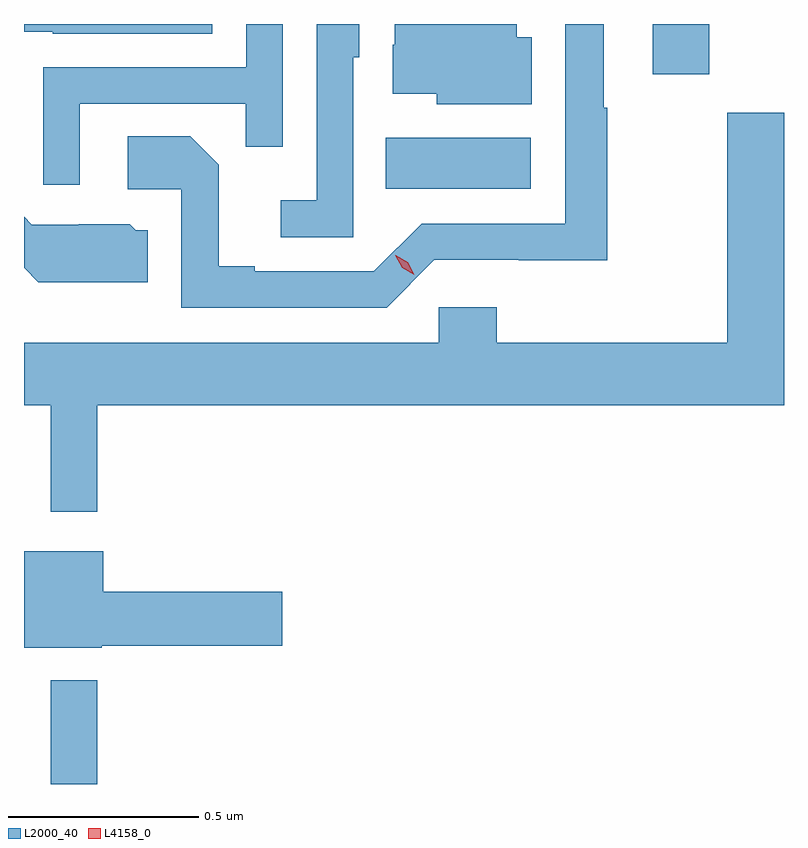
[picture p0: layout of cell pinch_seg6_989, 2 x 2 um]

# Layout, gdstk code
import gdstk
lib = gdstk.Library(unit=1e-6, precision=1e-09)
def R(c, l, rs):  # rectangles x0, y0, x1, y1
    for r in rs: c.add(gdstk.rectangle(r[:2], r[2:], *l))
def P(c, l, *ps):  # polygons
    for p in ps: c.add(gdstk.Polygon(p, *l))
L2000_40 = (2000, 40)
L4158_0 = (4158, 0)

pinch_seg6_989 = lib.new_cell('pinch_seg6_989')
R(pinch_seg6_989, L2000_40, [(360.707,938.347,360.829,938.62), (361.588,939.914,361.969,940.048), (362.291,940.215,362.439,940.347)])
P(pinch_seg6_989, L2000_40, [(361.503,940.26),(361.518,940.26),(361.518,940.347),(361.407,940.347),(361.407,939.883),(361.311,939.883),(361.311,939.786),(361.503,939.786)],
  [(361.716,939.726),(361.938,939.726),(361.938,939.725),(362.171,939.725),(362.171,940.127),(362.161,940.127),(362.161,940.347),(362.06,940.347),(362.06,939.822),(361.683,939.822),(361.557,939.696),(361.243,939.696),(361.243,939.709),(361.149,939.709),(361.149,939.976),(361.073,940.052),(360.909,940.052),(360.909,939.912),(361.05,939.912),(361.05,939.6),(361.59,939.6)],
  [(361.132,940.347),(360.636,940.347),(360.636,940.326),(360.712,940.326),(360.712,940.322),(361.132,940.322)],
  [(360.783,940.137),(361.219,940.137),(361.219,940.024),(361.317,940.024),(361.317,940.347),(361.221,940.347),(361.221,940.233),(360.687,940.233),(360.687,939.924),(360.783,939.924)],
  [(361.972,940.312),(361.933,940.312),(361.933,940.347),(361.611,940.347),(361.611,940.292),(361.607,940.292),(361.607,940.163),(361.722,940.163),(361.722,940.136),(361.972,940.136)],
  [(360.829,939.344),(362.636,939.344),(362.636,940.114),(362.486,940.114),(362.486,939.508),(361.88,939.508),(361.88,939.601),(361.728,939.601),(361.728,939.508),(360.636,939.508),(360.636,939.344),(360.707,939.344),(360.707,939.063),(360.829,939.063)],
  [(360.961,939.804),(360.93,939.804),(360.914,939.82),(360.78,939.82),(360.78,939.819),(360.657,939.819),(360.636,939.84),(360.636,939.705),(360.673,939.668),(360.961,939.668)],
  [(360.84,938.711),(361.315,938.711),(361.315,938.853),(360.844,938.853),(360.844,938.959),(360.636,938.959),(360.636,938.705),(360.84,938.705)])
P(pinch_seg6_989, L4158_0, [(361.663,939.687),(361.631,939.706),(361.613,939.739),(361.613,939.739),(361.614,939.739),(361.646,939.72),(361.663,939.687),(361.663,939.687)])

lib.write_gds('pinch_seg6_989.gds')
